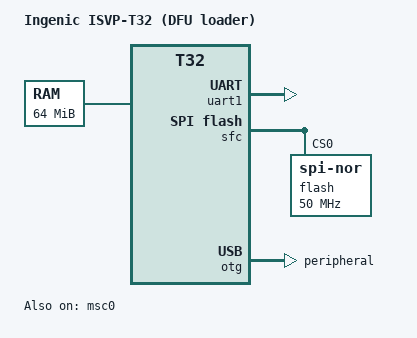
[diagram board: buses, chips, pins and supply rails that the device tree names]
// SPDX-License-Identifier: GPL-2.0+
/*
 * Ingenic ISVP-T32 shared DFU/USB-boot board body.
 *
 * Identical to t32-isvp.dtsi except the DWC2 OTG is dr_mode =
 * "peripheral" so the dwc2_udc_otg gadget binds (dwc2_udc_otg_bind
 * rejects "host"), and the audio nodes stay off. Used by the usbboot
 * defconfigs - the dev/flash loader that USB-boots and auto-enters
 * DFU. Production NOR uses t32-isvp.dtsi (dr_mode="host" for USB
 * host + USB-NIC).
 *
 * The per-SKU leaf .dts files (t32lq-isvp-dfu.dts, ...) include this
 * and set the DDR node's per-SKU compatible; the matching
 * <leaf>-u-boot.dtsi pulls in t32-isvp-dfu-uboot-common.dtsi.
 */

#include <dt-bindings/gpio/gpio.h>
#include "t32.dtsi"

/ {
	compatible = "ingenic,isvp-t32", "ingenic,t32";
	model = "Ingenic ISVP-T32 (DFU loader)";

	aliases {
		serial1 = &uart1;
	};

	chosen {
		stdout-path = "serial1:115200n8";
	};

	memory {
		device_type = "memory";
		/* Placeholder; the DDR driver reports the real per-SKU size. */
		reg = <0x0 0x04000000>;
	};
};

&uart1 {
	status = "okay";
};

&sfc {
	status = "okay";

	flash@0 {
		compatible = "jedec,spi-nor";
		reg = <0>;
		spi-max-frequency = <50000000>;
	};
};

&msc0 {
	status = "okay";
};

&otg {
	status = "okay";
	dr_mode = "peripheral";		/* gadget bind for DFU/g_dnl */
};
